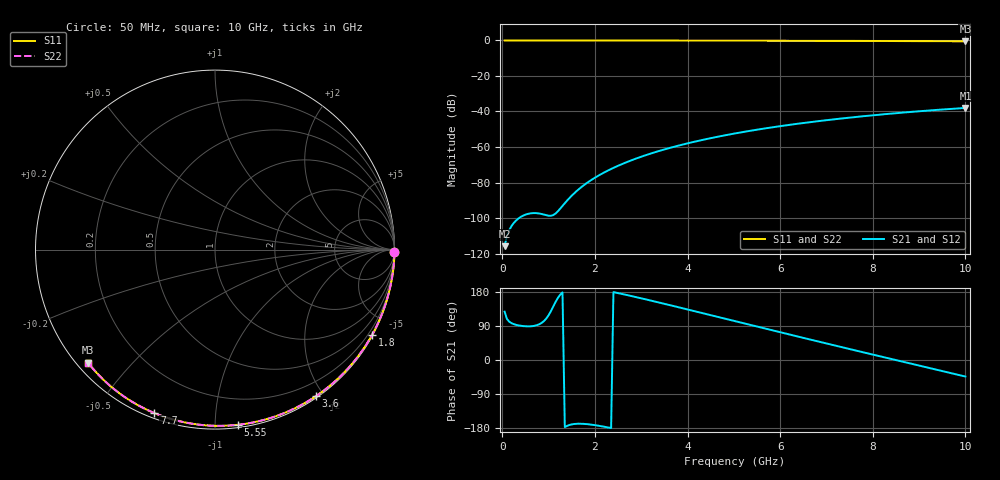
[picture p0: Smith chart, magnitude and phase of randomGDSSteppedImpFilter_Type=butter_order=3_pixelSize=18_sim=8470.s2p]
! freq	dB(S11)	phase(S11)	dB(S12)	phase(S12)
!  dB(S21)	phase(S21)	dB(S22)	phase(S22)
!S-par simulation data
#  GHz  S  DB  R 50
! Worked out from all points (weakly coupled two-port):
!   200 points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, 50 MHz to 10 GHz, reference 50 ohm
!   highest |S21| = -38.01 dB at 10 GHz (marker M1); lowest = -115.9 dB at 50 MHz (marker M2)
!   lowest |S11| = -0.5 dB at 10 GHz (marker M3), VSWR 36.86, Z = 1.55 - j19 ohm
!   |S11| at or under -10 dB: nowhere
!   |S22| runs from -0.5 to 0.0 dB; largest |S21 - S12| = 0
!   S11 on the Smith chart (normalised r, x): 50 MHz: open; 1.8 GHz: 0.03, -3.96; 3.6 GHz: 0.02, -1.90; 5.55 GHz: 0.02, -1.14; 7.7 GHz: 0.02, -0.70; 10 GHz: 0.03, -0.38
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0.05  -0.00 -0.8  -115.85 127.6  -115.85 127.6  -0.00 -0.8
0.45  -0.01 -7.2  -98.65 89.4  -98.65 89.4  -0.01 -7.2
0.9  -0.02 -14.3  -98.08 102.8  -98.08 102.8  -0.02 -14.3
1.75  -0.04 -27.6  -81.73 -168.5  -81.73 -168.5  -0.04 -27.6
1.8  -0.04 -28.4  -80.76 -168.9  -80.76 -168.9  -0.04 -28.4
1.85  -0.04 -29.1  -79.84 -169.5  -79.84 -169.5  -0.04 -29.1
2  -0.04 -31.5  -77.30 -171.9  -77.30 -171.9  -0.04 -31.5
2.15  -0.04 -33.8  -75.04 -174.9  -75.04 -174.9  -0.04 -33.8
2.35  -0.05 -36.8  -72.37 -179.6  -72.37 -179.6  -0.05 -36.8
2.55  -0.05 -39.8  -69.99 175.3  -69.99 175.3  -0.05 -39.8
2.95  -0.06 -45.8  -65.93 164.2  -65.93 164.2  -0.06 -45.8
3.4  -0.07 -52.5  -62.13 151.2  -62.13 151.2  -0.07 -52.5
3.6  -0.07 -55.4  -60.64 145.3  -60.64 145.3  -0.07 -55.4
4.3  -0.09 -65.5  -56.14 124.4  -56.14 124.4  -0.09 -65.5
5.05  -0.12 -75.9  -52.24 101.8  -52.24 101.8  -0.12 -75.9
5.55  -0.14 -82.7  -50.04 86.8  -50.04 86.8  -0.14 -82.7
6.1  -0.16 -90.0  -47.89 70.3  -47.89 70.3  -0.16 -90.0
6.7  -0.19 -97.8  -45.84 52.4  -45.84 52.4  -0.19 -97.8
7.7  -0.25 -110.4  -42.92 23.0  -42.92 23.0  -0.25 -110.4
8.35  -0.30 -118.4  -41.30 4.1  -41.30 4.1  -0.30 -118.4
9.2  -0.38 -128.7  -39.47 -20.5  -39.47 -20.5  -0.38 -128.7
10  -0.47 -138.4  -38.01 -43.7  -38.01 -43.7  -0.47 -138.4
